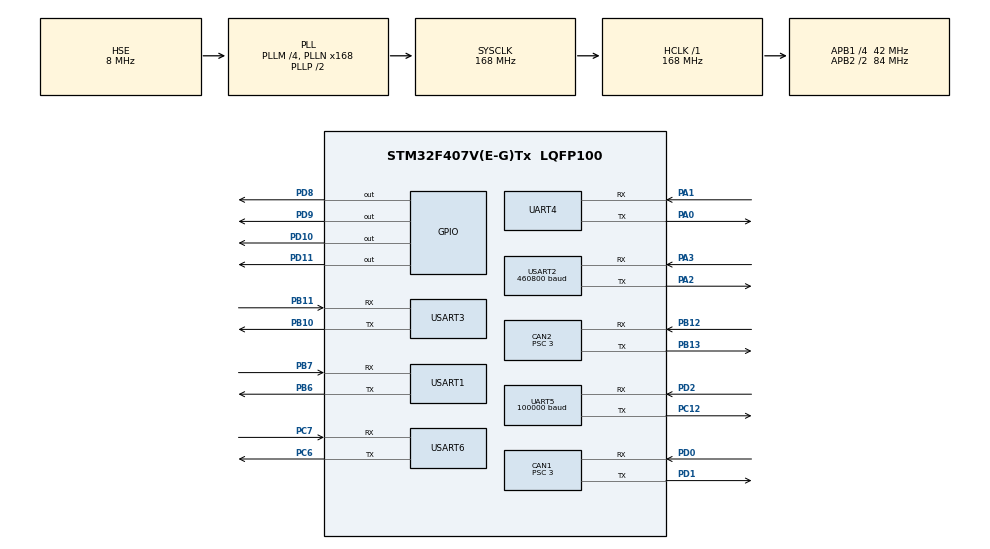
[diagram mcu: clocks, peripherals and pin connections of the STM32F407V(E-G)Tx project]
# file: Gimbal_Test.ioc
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CAN1.BS1=CAN_BS1_10TQ
CAN1.BS2=CAN_BS2_3TQ
CAN1.CalculateBaudRate=1000000
CAN1.CalculateTimeBit=1000
CAN1.CalculateTimeQuantum=71.42857142857143
CAN1.Prescaler=3
CAN2.BS1=CAN_BS1_10TQ
CAN2.BS2=CAN_BS2_3TQ
CAN2.CalculateBaudRate=1000000
CAN2.CalculateTimeBit=1000
CAN2.CalculateTimeQuantum=71.42857142857143
CAN2.Prescaler=3
Dma.Request0=UART5_RX
Dma.Request1=USART2_RX
Dma.UART5_RX.0.Direction=DMA_PERIPH_TO_MEMORY
Dma.UART5_RX.0.FIFOMode=DMA_FIFOMODE_DISABLE
Dma.UART5_RX.0.Instance=DMA1_Stream0
Dma.UART5_RX.0.MemDataAlignment=DMA_MDATAALIGN_BYTE
Dma.UART5_RX.0.MemInc=DMA_MINC_ENABLE
Dma.UART5_RX.0.Mode=DMA_NORMAL
Dma.UART5_RX.0.PeriphDataAlignment=DMA_PDATAALIGN_BYTE
Dma.UART5_RX.0.PeriphInc=DMA_PINC_DISABLE
Dma.UART5_RX.0.Priority=DMA_PRIORITY_VERY_HIGH
Dma.USART2_RX.1.Direction=DMA_PERIPH_TO_MEMORY
Dma.USART2_RX.1.FIFOMode=DMA_FIFOMODE_DISABLE
Dma.USART2_RX.1.Instance=DMA1_Stream5
Dma.USART2_RX.1.MemDataAlignment=DMA_MDATAALIGN_BYTE
Dma.USART2_RX.1.MemInc=DMA_MINC_ENABLE
Dma.USART2_RX.1.Mode=DMA_NORMAL
Dma.USART2_RX.1.PeriphDataAlignment=DMA_PDATAALIGN_BYTE
Dma.USART2_RX.1.PeriphInc=DMA_PINC_DISABLE
Dma.USART2_RX.1.Priority=DMA_PRIORITY_VERY_HIGH
FREERTOS.Tasks01=Gimbal_task,0,128,Gimbal_task_Start,Default,NULL,Dynamic,NULL,NULL;Detect_Task,0,512,Detect_Task_Start,Default,NULL,Dynamic,NULL,NULL;Communicate_Tas,0,512,Communicate_Task_Start,Default,NULL,Dynamic,NULL,NULL
Mcu.Family=STM32F4
Mcu.Name=STM32F407V(E-G)Tx
Mcu.Package=LQFP100
NVIC.CAN1_RX0_IRQn=true\:6\:0\:true\:false\:true\:true\:true\:true
NVIC.CAN2_RX1_IRQn=true\:5\:0\:false\:false\:true\:true\:true\:true
NVIC.DMA1_Stream0_IRQn=true\:5\:0\:false\:false\:true\:true\:false\:true
NVIC.DMA1_Stream5_IRQn=true\:5\:0\:false\:false\:true\:true\:false\:true
NVIC.PriorityGroup=NVIC_PRIORITYGROUP_4
NVIC.TIM7_IRQn=true\:15\:0\:true\:false\:true\:false\:true\:true
NVIC.TIM8_UP_TIM13_IRQn=true\:5\:0\:false\:false\:true\:true\:true\:true
NVIC.TimeBase=TIM7_IRQn
NVIC.TimeBaseIP=TIM7
NVIC.UART5_IRQn=true\:4\:0\:true\:false\:true\:false\:true\:true
NVIC.USART2_IRQn=true\:5\:0\:false\:false\:true\:true\:true\:true
PA0-WKUP.Mode=Asynchronous
PA0-WKUP.Signal=UART4_TX
PA1.Mode=Asynchronous
PA1.Signal=UART4_RX
PA13.Mode=Serial_Wire
PA13.Signal=SYS_JTMS-SWDIO
PA14.Mode=Serial_Wire
PA14.Signal=SYS_JTCK-SWCLK
PA2.Mode=Asynchronous
PA2.Signal=USART2_TX
PA3.Mode=Asynchronous
PA3.Signal=USART2_RX
PB10.Mode=Asynchronous
PB10.Signal=USART3_TX
PB11.Mode=Asynchronous
PB11.Signal=USART3_RX
PB12.Mode=CAN_Activate
PB12.Signal=CAN2_RX
PB13.Mode=CAN_Activate
PB13.Signal=CAN2_TX
PB6.Mode=Asynchronous
PB6.Signal=USART1_TX
PB7.Mode=Asynchronous
PB7.Signal=USART1_RX
PC12.Mode=Asynchronous
PC12.Signal=UART5_TX
PC6.Mode=Asynchronous
PC6.Signal=USART6_TX
PC7.Mode=Asynchronous
PC7.Signal=USART6_RX
PD0.Mode=CAN_Activate
PD0.Signal=CAN1_RX
PD1.Mode=CAN_Activate
PD1.Signal=CAN1_TX
PD10.Signal=GPIO_Output
PD11.Signal=GPIO_Output
PD2.Mode=Asynchronous
PD2.Signal=UART5_RX
PD8.Signal=GPIO_Output
PD9.Signal=GPIO_Output
PH0-OSC_IN.Mode=HSE-External-Oscillator
PH0-OSC_IN.Signal=RCC_OSC_IN
PH1-OSC_OUT.Mode=HSE-External-Oscillator
PH1-OSC_OUT.Signal=RCC_OSC_OUT
ProjectManager.HeapSize=0x2000
ProjectManager.StackSize=0x4000
ProjectManager.TargetToolchain=MDK-ARM V5.32
RCC.48MHZClocksFreq_Value=84000000
RCC.AHBFreq_Value=168000000
RCC.APB1CLKDivider=RCC_HCLK_DIV4
RCC.APB1Freq_Value=42000000
RCC.APB1TimFreq_Value=84000000
RCC.APB2CLKDivider=RCC_HCLK_DIV2
RCC.APB2Freq_Value=84000000
RCC.APB2TimFreq_Value=168000000
RCC.CortexFreq_Value=168000000
RCC.HCLKFreq_Value=168000000
RCC.HSE_VALUE=8000000
RCC.HSI_VALUE=16000000
RCC.LSE_VALUE=32768
RCC.PLLM=4
RCC.PLLN=168
RCC.PLLSourceVirtual=RCC_PLLSOURCE_HSE
RCC.SYSCLKFreq_VALUE=168000000
RCC.SYSCLKSource=RCC_SYSCLKSOURCE_PLLCLK
RCC.VCOOutputFreq_Value=336000000
TIM13.Period=9999
TIM13.Prescaler=167
UART4.VirtualMode=Asynchronous
UART5.BaudRate=100000
UART5.Parity=PARITY_EVEN
UART5.VirtualMode=Asynchronous
USART1.VirtualMode=VM_ASYNC
USART2.BaudRate=460800
USART2.VirtualMode=VM_ASYNC
USART3.VirtualMode=VM_ASYNC
USART6.VirtualMode=VM_ASYNC
VP_FREERTOS_VS_CMSIS_V1.Mode=CMSIS_V1
VP_SYS_VS_tim7.Mode=TIM7
VP_TIM13_VS_ClockSourceINT.Mode=Enable_Timer
board=custom

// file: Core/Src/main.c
/* USER CODE BEGIN Header */
/**
  ******************************************************************************
  * @file           : main.c
  * @brief          : Main program body
  ******************************************************************************
  * @attention
  *
  * <h2><center>&copy; Copyright (c) 2021 STMicroelectronics.
  * All rights reserved.</center></h2>
  *
  * This software component is licensed by ST under Ultimate Liberty license
  * SLA0044, the "License"; You may not use this file except in compliance with
  * the License. You may obtain a copy of the License at:
  *                             www.st.com/SLA0044
  *
  ******************************************************************************
  */
/* USER CODE END Header */
#include "main.h"
#include "cmsis_os.h"
#include "can.h"
#include "dma.h"
#include "tim.h"
#include "usart.h"
#include "gpio.h"

/* USER CODE BEGIN Includes */
#include "pid.h"
#include "bsp_can.h"
#include "variables.h"
/* USER CODE END Includes */

/* USER CODE BEGIN PD */
const motor_measure_t *bbb;
/* USER CODE END PD */

void SystemClock_Config(void);
void MX_FREERTOS_Init(void);

int main(void)
{

  /* MCU Configuration--------------------------------------------------------*/

  /* Reset of all peripherals, Initializes the Flash interface and the Systick. */
  HAL_Init();

  /* Configure the system clock */
  SystemClock_Config();

  /* Initialize all configured peripherals */
  MX_GPIO_Init();
  MX_CAN1_Init();
  MX_UART4_Init();
  MX_UART5_Init();
  MX_USART1_UART_Init();
  MX_USART2_UART_Init();
  MX_USART3_UART_Init();
  MX_DMA_Init();
  MX_USART6_UART_Init();
  MX_CAN2_Init();
  MX_TIM13_Init();
  /* USER CODE BEGIN 2 */
	//检查DMA初始化是否在USART初始化之前
	can_filter_init();
  remote_control_init();
	bbb = get_triggle_motor_measure_point();

  /* USER CODE END 2 */

  /* Call init function for freertos objects (in freertos.c) */
  MX_FREERTOS_Init();
  /* Start scheduler */
  osKernelStart();

  /* We should never get here as control is now taken by the scheduler */
  /* Infinite loop */
  while (1)
  {

    /* USER CODE BEGIN 3 */
		HAL_GPIO_TogglePin(GPIOD,GPIO_PIN_10);
		HAL_Delay(100);
//		CAN_cmd_chassis(500,0,0,0);
//		CAN_cmd_gimbal
  }
  /* USER CODE END 3 */
}

void SystemClock_Config(void)
{
  RCC_OscInitTypeDef RCC_OscInitStruct = {0};
  RCC_ClkInitTypeDef RCC_ClkInitStruct = {0};

  /** Configure the main internal regulator output voltage
  */
  __HAL_RCC_PWR_CLK_ENABLE();
  __HAL_PWR_VOLTAGESCALING_CONFIG(PWR_REGULATOR_VOLTAGE_SCALE1);
  /** Initializes the RCC Oscillators according to the specified parameters
  * in the RCC_OscInitTypeDef structure.
  */
  RCC_OscInitStruct.OscillatorType = RCC_OSCILLATORTYPE_HSE;
  RCC_OscInitStruct.HSEState = RCC_HSE_ON;
  RCC_OscInitStruct.PLL.PLLState = RCC_PLL_ON;
  RCC_OscInitStruct.PLL.PLLSource = RCC_PLLSOURCE_HSE;
  RCC_OscInitStruct.PLL.PLLM = 4;
  RCC_OscInitStruct.PLL.PLLN = 168;
  RCC_OscInitStruct.PLL.PLLP = RCC_PLLP_DIV2;
  RCC_OscInitStruct.PLL.PLLQ = 4;
  if (HAL_RCC_OscConfig(&RCC_OscInitStruct) != HAL_OK)
  {
    Error_Handler();
  }
  /** Initializes the CPU, AHB and APB buses clocks
  */
  RCC_ClkInitStruct.ClockType = RCC_CLOCKTYPE_HCLK|RCC_CLOCKTYPE_SYSCLK
                              |RCC_CLOCKTYPE_PCLK1|RCC_CLOCKTYPE_PCLK2;
  RCC_ClkInitStruct.SYSCLKSource = RCC_SYSCLKSOURCE_PLLCLK;
  RCC_ClkInitStruct.AHBCLKDivider = RCC_SYSCLK_DIV1;
  RCC_ClkInitStruct.APB1CLKDivider = RCC_HCLK_DIV4;
  RCC_ClkInitStruct.APB2CLKDivider = RCC_HCLK_DIV2;

  if (HAL_RCC_ClockConfig(&RCC_ClkInitStruct, FLASH_LATENCY_5) != HAL_OK)
  {
    Error_Handler();
  }
}

void HAL_TIM_PeriodElapsedCallback(TIM_HandleTypeDef *htim)
{
  if (htim->Instance == TIM7) {
    HAL_IncTick();
  }
}

void Error_Handler(void)
{
  __disable_irq();
  while (1)
  {
  }
}

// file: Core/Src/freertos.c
/* USER CODE BEGIN Header */
/**
  ******************************************************************************
  * File Name          : freertos.c
  * Description        : Code for freertos applications
  ******************************************************************************
  * @attention
  *
  * <h2><center>&copy; Copyright (c) 2021 STMicroelectronics.
  * All rights reserved.</center></h2>
  *
  * This software component is licensed by ST under Ultimate Liberty license
  * SLA0044, the "License"; You may not use this file except in compliance with
  * the License. You may obtain a copy of the License at:
  *                             www.st.com/SLA0044
  *
  ******************************************************************************
  */
/* USER CODE END Header */

#include "FreeRTOS.h"
#include "task.h"
#include "main.h"
#include "cmsis_os.h"

/* USER CODE BEGIN Includes */
#include "pid.h"
#include "CAN_Receive.h"
#include "Gimbal_task.h"
#include "usart.h"
#include "imu.h"
#include "usart.h"
#include "stdio.h"
#include "string.h"
/* USER CODE END Includes */

/* USER CODE BEGIN PD */
#define Uprintf(...)			HAL_UART_Transmit(&huart1,\
                                           (uint8_t *)buf,\
                                           sprintf((char*)buf,__VA_ARGS__),\
                                           0xffff)
/* USER CODE END PD */

/* USER CODE BEGIN Variables */

const motor_measure_t *speed;
uint8_t buf[50];

/* USER CODE END Variables */
osThreadId Gimbal_taskHandle;
osThreadId Detect_TaskHandle;
osThreadId Communicate_TasHandle;

void Gimbal_task_Start(void const * argument);
void Detect_Task_Start(void const * argument);
void Communicate_Task_Start(void const * argument);

void MX_FREERTOS_Init(void); /* (MISRA C 2004 rule 8.1) */

/* GetIdleTaskMemory prototype (linked to static allocation support) */
void vApplicationGetIdleTaskMemory( StaticTask_t **ppxIdleTaskTCBBuffer, StackType_t **ppxIdleTaskStackBuffer, uint32_t *pulIdleTaskStackSize );

/* USER CODE BEGIN GET_IDLE_TASK_MEMORY */
static StaticTask_t xIdleTaskTCBBuffer;
static StackType_t xIdleStack[configMINIMAL_STACK_SIZE];

void vApplicationGetIdleTaskMemory( StaticTask_t **ppxIdleTaskTCBBuffer, StackType_t **ppxIdleTaskStackBuffer, uint32_t *pulIdleTaskStackSize )
{
  *ppxIdleTaskTCBBuffer = &xIdleTaskTCBBuffer;
  *ppxIdleTaskStackBuffer = &xIdleStack[0];
  *pulIdleTaskStackSize = configMINIMAL_STACK_SIZE;
  /* place for user code */
}
/* USER CODE END GET_IDLE_TASK_MEMORY */

void MX_FREERTOS_Init(void) {

  /* Create the thread(s) */
  /* definition and creation of Gimbal_task */
  osThreadDef(Gimbal_task, Gimbal_task_Start, osPriorityNormal, 0, 128);
  Gimbal_taskHandle = osThreadCreate(osThread(Gimbal_task), NULL);

  /* definition and creation of Detect_Task */
  osThreadDef(Detect_Task, Detect_Task_Start, osPriorityNormal, 0, 512);
  Detect_TaskHandle = osThreadCreate(osThread(Detect_Task), NULL);

  /* definition and creation of Communicate_Tas */
  osThreadDef(Communicate_Tas, Communicate_Task_Start, osPriorityNormal, 0, 512);
  Communicate_TasHandle = osThreadCreate(osThread(Communicate_Tas), NULL);

}

/* USER CODE BEGIN Header_Gimbal_task_Start */
///////////////////////////////**
//////////////////////////////  * @brief  Function implementing the Gimbal_task thread.
//////////////////////////////  * @param  argument: Not used
//////////////////////////////  * @retval None
//////////////////////////////  */
/* USER CODE END Header_Gimbal_task_Start */
//void Gimbal_task_Start(void const * argument)
//{
  /* USER CODE BEGIN Gimbal_task_Start */
//////////////////////////////  /* Infinite loop */
//////////////////////////////  for(;;)
//////////////////////////////  {
//////////////////////////////    osDelay(1);
//////////////////////////////  }
  /* USER CODE END Gimbal_task_Start */
//}

void Detect_Task_Start(void const * argument)
{
  /* USER CODE BEGIN Detect_Task_Start */
  /* Infinite loop */
  for(;;)
  {
//		printf();

    osDelay(1);
  }
  /* USER CODE END Detect_Task_Start */
}

void Communicate_Task_Start(void const * argument)
{
  for(;;)
  {
    osDelay(1);
  }
}
